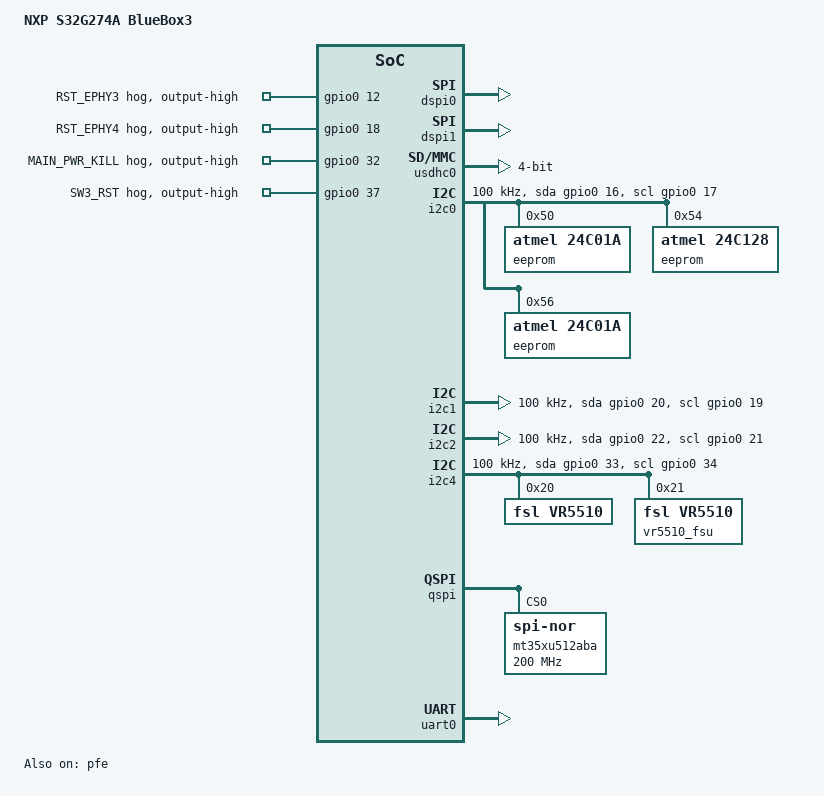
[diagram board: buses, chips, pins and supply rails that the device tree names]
// SPDX-License-Identifier: GPL-2.0+
/*
 * Copyright 2021-2022 NXP
 *
 */

/dts-v1/;
#include <dt-bindings/gpio/gpio.h>
#include "fsl-s32g274a.dtsi"

/ {
	model = "NXP S32G274A BlueBox3";
	compatible = "fsl,s32gen1", "arm,vexpress,v2p-aarch64", "arm,vexpress";
};

&dspi0 {
	pinctrl-0 = <&pinctrl0_dspi0 &pinctrl1_dspi0>;
	pinctrl-names = "default";
	status = "okay";
};

&dspi1 {
	pinctrl-0 = <&pinctrl0_dspi1 &pinctrl1_dspi1>;
	pinctrl-names = "default";
	status = "okay";
};

&usdhc0 {
	/* By default, sd0 pins are able to work at 100Mhz and 200Mhz */
	pinctrl-0 = <&pinctrl0_sd0>;
	pinctrl-1 = <>;
	pinctrl-2 = <>;
	pinctrl-names = "default", "state_100mhz", "state_200mhz";
	status = "okay";
	bus-width = <4>;
};

&pfe {
	status = "okay";
};

&pcie1 {
	status = "disabled";
};

&gpio0 {
	PA12 {
		gpio-hog;
		gpios = <12 0>;
		output-high;
		line-name = "RST_EPHY3";
	};

	PB02 {
		gpio-hog;
		gpios = <18 0>;
		output-high;
		line-name = "RST_EPHY4";
	};

	PC00 {
		gpio-hog;
		gpios = <32 0>;
		output-high;
		line-name = "MAIN_PWR_KILL";
	};

	PC05 {
		gpio-hog;
		gpios = <37 0>;
		output-high;
		line-name = "SW3_RST";
	};
};

&i2c0 {
	clock-frequency=<100000>;
	pinctrl-names = "default", "gpio";
	pinctrl-0 = <&pinctrl0_i2c0>;
	pinctrl-1 = <&pinctrl0_i2c0_gpio>;
	scl-gpios = <&gpio0 17 (GPIO_ACTIVE_HIGH | GPIO_OPEN_DRAIN)>;
	sda-gpios = <&gpio0 16 (GPIO_ACTIVE_HIGH | GPIO_OPEN_DRAIN)>;
	status = "okay";

	eeprom@50 {
		compatible = "atmel,24c01a";
		reg = <0x50>;
	};

	eeprom@54 {
		compatible = "atmel,24c128";
		reg = <0x54>;
		u-boot,i2c-offset-len = <2>;
	};

	eeprom@56 {
		compatible = "atmel,24c01a";
		reg = <0x56>;
	};
};

&i2c1 {
	clock-frequency=<100000>;
	pinctrl-names = "default", "gpio";
	pinctrl-0 = <&pinctrl0_i2c1 &pinctrl1_i2c1>;
	pinctrl-1 = <&pinctrl0_i2c1_gpio &pinctrl1_i2c1_gpio>;
	scl-gpios = <&gpio0 19 (GPIO_ACTIVE_HIGH | GPIO_OPEN_DRAIN)>;
	sda-gpios = <&gpio0 20 (GPIO_ACTIVE_HIGH | GPIO_OPEN_DRAIN)>;
	status = "okay";
};

&i2c2 {
	clock-frequency=<100000>;
	pinctrl-names = "default", "gpio";
	pinctrl-0 = <&pinctrl0_i2c2 &pinctrl1_i2c2>;
	pinctrl-1 = <&pinctrl0_i2c2_gpio &pinctrl1_i2c2_gpio>;
	scl-gpios = <&gpio0 21 (GPIO_ACTIVE_HIGH | GPIO_OPEN_DRAIN)>;
	sda-gpios = <&gpio0 22 (GPIO_ACTIVE_HIGH | GPIO_OPEN_DRAIN)>;
	status = "okay";
};

&i2c4 {
	clock-frequency=<100000>;
	pinctrl-names = "default", "gpio";
	pinctrl-0 = <&pinctrl0_i2c4 &pinctrl1_i2c4>;
	pinctrl-1 = <&pinctrl0_i2c4_gpio &pinctrl1_i2c4_gpio>;
	scl-gpios = <&gpio0 34 (GPIO_ACTIVE_HIGH | GPIO_OPEN_DRAIN)>;
	sda-gpios = <&gpio0 33 (GPIO_ACTIVE_HIGH | GPIO_OPEN_DRAIN)>;
	status = "okay";

	vr5510 {
		compatible = "fsl,vr5510";
		reg = <0x20>;
		status = "okay";
	};

	vr5510_fsu {
		compatible = "fsl,vr5510";
		reg = <0x21>;
		status = "okay";
	};

};

&pinctrl0 {
	board_pinctrl0 {
		pinctrl0_dspi0: pinctrl0_dspi0 {
			fsl,pins = <PA13_MSCR_S32G PA13_SPI0_SCK_CFG
				    PA14_MSCR_S32G PA14_SPI0_SIN_CFG
				    PA15_MSCR_S32G PA15_SPI0_SOUT_CFG
				    PB09_MSCR_S32G PB09_SPI0_CS1_CFG
				    PB10_MSCR_S32G PB10_SPI0_CS2_CFG
				    >;
		};

		pinctrl0_dspi1: pinctrl0_dspi1 {
			fsl,pins = <PA06_MSCR_S32G PA06_SPI1_SOUT_CFG
				    PA07_MSCR_S32G PA07_SPI1_CS0_CFG
				    PA08_MSCR_S32G PA08_SPI1_SCK_CFG
				    PE04_MSCR_S32G PE04_SPI1_CS3_CFG
				    PF15_MSCR_S32G PF15_SPI1_SIN_CFG
				    >;
		};

		pinctrl0_i2c0: pinctrl0_i2c0 {
			fsl,pins = <PB00_MSCR_S32G PB00_I2C0_SDA_CFG
				    PB01_MSCR_S32G PB01_I2C0_SCL_CFG
				    I2C0_SDA_IMCR PB00_I2C0_SDA_IN
				    I2C0_SCL_IMCR PB01_I2C0_SCL_IN
				    >;
		};

		pinctrl0_i2c0_gpio: pinctrl0_i2c0_gpio {
			fsl,pins = <PB00_MSCR_S32G PB00_I2C0_SDA_GPIO
				    PB01_MSCR_S32G PB01_I2C0_SCL_GPIO
				    I2C0_SDA_IMCR IMCR_DISABLED
				    I2C0_SCL_IMCR IMCR_DISABLED
				    >;
		};

		pinctrl0_i2c1: pinctrl0_i2c1 {
			fsl,pins = <PB03_MSCR_S32G PB03_I2C1_SCL_CFG
				    PB04_MSCR_S32G PB04_I2C1_SDA_CFG
				    >;
		};

		pinctrl0_i2c1_gpio: pinctrl0_i2c1_gpio {
			fsl,pins = <PB03_MSCR_S32G PB03_I2C1_SCL_GPIO
				    PB04_MSCR_S32G PB04_I2C1_SDA_GPIO
				    >;
		};

		pinctrl0_i2c2: pinctrl0_i2c2 {
			fsl,pins = <PB05_MSCR_S32G PB05_I2C2_SCL_CFG
				    PB06_MSCR_S32G PB06_I2C2_SDA_CFG
				    >;
		};

		pinctrl0_i2c2_gpio: pinctrl0_i2c2_gpio {
			fsl,pins = <PB05_MSCR_S32G PB05_I2C2_SCL_GPIO
				    PB06_MSCR_S32G PB06_I2C2_SDA_GPIO
				    >;
		};

		pinctrl0_i2c4: pinctrl0_i2c4 {
			fsl,pins = <PC01_MSCR_S32G PC01_I2C4_SDA_CFG
				    PC02_MSCR_S32G PC02_I2C4_SCL_CFG
				    >;
		};

		pinctrl0_i2c4_gpio: pinctrl0_i2c4_gpio {
			fsl,pins = <PC01_MSCR_S32G PC01_I2C4_SDA_GPIO
				    PC02_MSCR_S32G PC02_I2C4_SCL_GPIO
				    >;
		};

		pinctrl0_qspi: pinctrl0_qspi {
			fsl,pins = <PF05_MSCR_S32G PF05_QSPI_DATA_A0_CFG
				    PF06_MSCR_S32G PF06_QSPI_DATA_A1_CFG
				    PF07_MSCR_S32G PF07_QSPI_DATA_A2_CFG
				    PF08_MSCR_S32G PF08_QSPI_DATA_A3_CFG
				    PF09_MSCR_S32G PF09_QSPI_DATA_A4_CFG
				    PF10_MSCR_S32G PF10_QSPI_DATA_A5_CFG
				    PF11_MSCR_S32G PF11_QSPI_DATA_A6_CFG
				    PF12_MSCR_S32G PF12_QSPI_DATA_A7_CFG
				    PF13_MSCR_S32G PF13_QSPI_DQS_A_CFG
				    PG00_MSCR_S32G PG00_QSPI_CLK_A_CFG
				    PG01_MSCR_S32G PG01_QSPI_CLK_A_b_CFG
				    PG02_MSCR_S32G PG02_QSPI_CLK_2A_CFG
				    PG03_MSCR_S32G PG03_QSPI_CLK_2A_b_CFG
				    PG04_MSCR_S32G PG04_QSPI_CS_A0
				    PG05_MSCR_S32G PG05_QSPI_CS_A1
				    QSPI_DATA0_A_IMCR PF05_QSPI_DATA_A0_IN
				    QSPI_DATA1_A_IMCR PF06_QSPI_DATA_A1_IN
				    QSPI_DATA2_A_IMCR PF07_QSPI_DATA_A2_IN
				    QSPI_DATA3_A_IMCR PF08_QSPI_DATA_A3_IN
				    QSPI_DATA4_A_IMCR PF09_QSPI_DATA_A4_IN
				    QSPI_DATA5_A_IMCR PF10_QSPI_DATA_A5_IN
				    QSPI_DATA6_A_IMCR PF11_QSPI_DATA_A6_IN
				    QSPI_DATA7_A_IMCR PF12_QSPI_DATA_A7_IN
				    QSPI_DQS_A_IMCR PF13_DQS_A_IN
				    >;
		};

		pinctrl0_sd0: pinctrl0_sd0 {
			fsl,pins = <PC14_MSCR_S32G PC14_SD0_CLK_CFG
				    PC15_MSCR_S32G PC15_SD0_CMD_CFG
				    PD00_MSCR_S32G PD00_SD0_D0_CFG
				    PD01_MSCR_S32G PD01_SD0_D1_CFG
				    PD02_MSCR_S32G PD02_SD0_D2_CFG
				    PD03_MSCR_S32G PD03_SD0_D3_CFG
				    PD04_MSCR_S32G PD04_SD0_D4_CFG
				    PD05_MSCR_S32G PD05_SD0_D5_CFG
				    PD06_MSCR_S32G PD06_SD0_D6_CFG
				    PD07_MSCR_S32G PD07_SD0_D7_CFG
				    PD08_MSCR_S32G PD08_SD0_RST_CFG
				    PD09_MSCR_S32G PD09_SD0_VSELECT_CFG
				    PD10_MSCR_S32G PD10_SD0_DQS_CFG
				    SD0_CMD_IMCR PC15_SD0_CMD_IN
				    SD0_D0_IMCR PD00_SD0_D0_IN
				    SD0_D1_IMCR PD01_SD0_D1_IN
				    SD0_D2_IMCR PD02_SD0_D2_IN
				    SD0_D3_IMCR PD03_SD0_D3_IN
				    SD0_D4_IMCR PD04_SD0_D4_IN
				    SD0_D5_IMCR PD05_SD0_D5_IN
				    SD0_D6_IMCR PD06_SD0_D6_IN
				    SD0_D7_IMCR PD07_SD0_D7_IN
				    SD0_DQS_IMCR PD10_SD0_DQS_IN
				    >;
		};

		pinctrl0_uart0: pinctrl0_uart0 {
			fsl,pins = <PC09_MSCR_S32G PC09_LIN0_TX_CFG
				    PC10_MSCR_S32G PC10_LIN0_RX_CFG
				    LIN0_RX_IMCR PC10_LIN0_RX_IN>;
		};
	};
};

&pinctrl1 {
	board_pinctrl1 {
		pinctrl1_dspi0: pinctrl1_dspi0 {
			fsl,pins = <DSPI0_SIN_IMCR PA14_SPI0_SIN_IN
				    >;
		};

		pinctrl1_dspi1: pinctrl1_dspi1 {
			fsl,pins = <DSPI1_SIN_IMCR PF15_SPI1_SIN_IN
				    >;
		};

		pinctrl1_i2c1: pinctrl1_i2c1 {
			fsl,pins = <I2C1_SCL_IMCR PB03_I2C1_SCL_IN
				    I2C1_SDA_IMCR PB04_I2C1_SDA_IN
				    >;
		};

		pinctrl1_i2c1_gpio: pinctrl1_i2c1_gpio {
			fsl,pins = <I2C1_SCL_IMCR IMCR_DISABLED
				    I2C1_SDA_IMCR IMCR_DISABLED
				    >;
		};

		pinctrl1_i2c2: pinctrl1_i2c2 {
			fsl,pins = <I2C2_SCL_IMCR PB05_I2C2_SCL_IN
				    I2C2_SDA_IMCR PB06_I2C2_SDA_IN
				    >;
		};

		pinctrl1_i2c2_gpio: pinctrl1_i2c2_gpio {
			fsl,pins = <I2C2_SCL_IMCR IMCR_DISABLED
				    I2C2_SDA_IMCR IMCR_DISABLED
				    >;
		};

		pinctrl1_i2c4: pinctrl1_i2c4 {
			fsl,pins = <I2C4_SDA_IMCR PC01_I2C4_SDA_IN
				    I2C4_SCL_IMCR PC02_I2C4_SCL_IN
				    >;
		};

		pinctrl1_i2c4_gpio: pinctrl1_i2c4_gpio {
			fsl,pins = <I2C4_SDA_IMCR IMCR_DISABLED
				    I2C4_SCL_IMCR IMCR_DISABLED
				    >;
		};
	};
};

&qspi {
	pinctrl-0 = <&pinctrl0_qspi>;
	pinctrl-names = "default";
	status = "okay";

	/delete-node/ mx25uw51245g@0;

	mt35xu512aba@0 {
		address-cells = <1>;
		#size-cells = <1>;
		compatible = "jedec,spi-nor";
		spi-max-frequency = <200000000>;
		spi-tx-bus-width = <8>;
		spi-rx-bus-width = <8>;
		reg = <0>;
	};
};

&uart0 {
	pinctrl-0 = <&pinctrl0_uart0>;
	pinctrl-names = "default";
	status = "okay";
};
